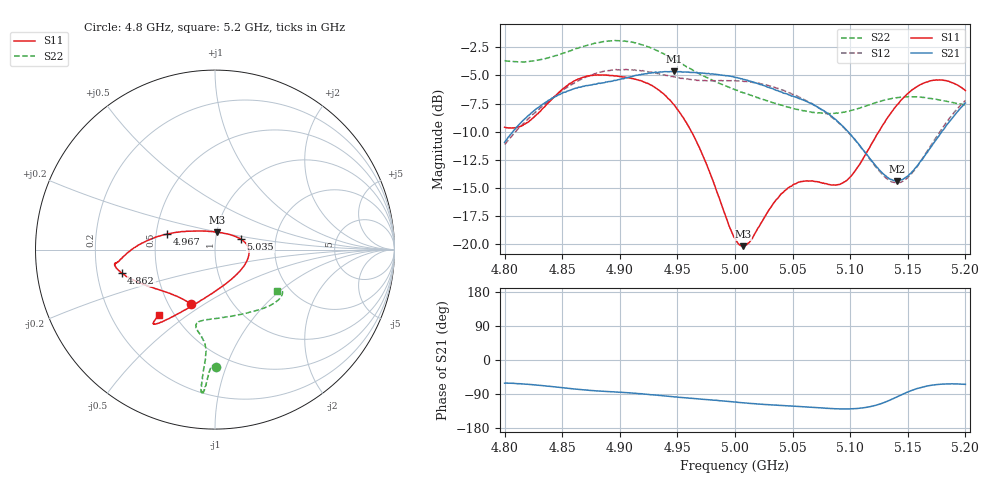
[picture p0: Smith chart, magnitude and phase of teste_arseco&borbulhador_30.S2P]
! Network Analyzer HP8722D
! Hewlett-Packard
! Data name: Linha & Wilkinson
! Saver's name: Rodrigo Anjos
! Comments: Teste da utilização de aquisição
! continua pelo VNA HP8722D
! Time and date: 15/4/2025 15:53
!  Frequency  S11  S21  S12  S22
# HZ  S  MA R 50
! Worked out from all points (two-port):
!   401 points, 4.8 GHz to 5.2 GHz, reference 50 ohm
!   highest |S21| = -4.64 dB at 4.947 GHz (marker M1); lowest = -14.4 dB at 5.141 GHz (marker M2)
!   |S21| within 3 dB of the highest: 4.832 GHz to 5.069 GHz (236.6 MHz wide, 4.78 % of centre); 5.198186 GHz to end of sweep
!   lowest |S11| = -20.2 dB at 5.007 GHz (marker M3), VSWR 1.22, Z = 50.4 + j9.86 ohm
!   |S11| at or under -10 dB: 4.962 GHz to 5.125 GHz (162.7 MHz wide, 3.23 % of centre)
!   |S22| runs from -8.4 to -1.9 dB; largest |S21 - S12| = 0.88
!   S11 on the Smith chart (normalised r, x): 4.8 GHz: 0.65, -0.44; 4.862 GHz: 0.31, -0.11; 4.967 GHz: 0.57, +0.11; 5.035 GHz: 1.33, +0.16; 5.2 GHz: 0.41, -0.39
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4.8e9  0.331 -114.0  0.2835 -61.2  0.2774 -175.2  0.655 -89.6
4.82e9  0.3475 -134.8  0.3708 -64.0  0.3587 -173.5  0.6483 -91.4
4.862e9  0.5361 -165.9  0.494 -77.0  0.5267 -176.5  0.741 -93.6
4.867e9  0.5493 -167.8  0.5011 -78.3  0.5429 -177.6  0.7537 -93.8
4.9e9  0.5562 -172.3  0.5399 -84.9  0.5954 175.7  0.8021 -95.3
4.934e9  0.484 -178.3  0.5817 -93.5  0.5742 171.8  0.718 -95.6
4.947e9  0.417 175.8  0.586 -97.0  0.5541 172.1  0.6626 -95.3
4.967e9  0.2827 162.1  0.579 -102.2  0.5345 173.9  0.5801 -95.0
5e9  0.1058 106.2  0.5513 -111.0  0.5343 176.4  0.4858 -99.4
5.007e9  0.09779 82.2  0.5409 -112.9  0.5302 176.3  0.4708 -101.0
5.014e9  0.1044 60.2  0.5289 -114.8  0.5266 176.2  0.459 -102.5
5.035e9  0.1557 22.0  0.485 -119.0  0.4964 175.0  0.4224 -103.7
5.05e9  0.1829 6.3  0.4555 -121.7  0.4633 174.4  0.4022 -100.3
5.067e9  0.191 -12.0  0.4203 -124.9  0.4218 173.8  0.385 -91.7
5.087e9  0.1827 -44.5  0.3591 -128.5  0.3558 173.8  0.3823 -76.7
5.098e9  0.1941 -67.7  0.3167 -129.0  0.3147 174.4  0.3893 -67.5
5.134e9  0.3743 -116.4  0.1952 -106.6  0.1918 -159.3  0.442 -43.3
5.141e9  0.4178 -120.4  0.1908 -96.6  0.1876 -148.4  0.4482 -40.2
5.154e9  0.4868 -125.4  0.2104 -79.6  0.2083 -128.6  0.452 -35.6
5.17e9  0.5328 -128.8  0.2694 -67.1  0.2742 -113.0  0.4444 -32.2
5.184e9  0.5318 -130.1  0.3399 -63.2  0.3501 -107.3  0.4313 -31.1
5.2e9  0.482 -130.6  0.4242 -64.3  0.4358 -106.3  0.4151 -33.5
